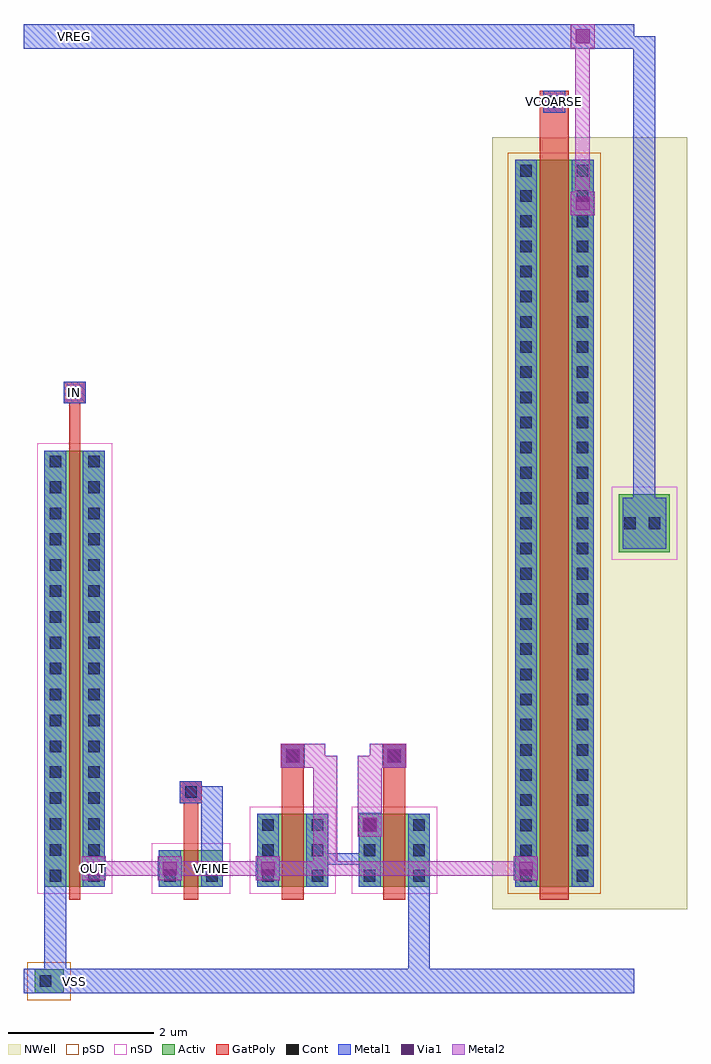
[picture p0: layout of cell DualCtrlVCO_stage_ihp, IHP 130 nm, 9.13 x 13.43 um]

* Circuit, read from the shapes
.subckt DualCtrlVCO_stage_ihp IN OUT VCOARSE VFINE VREG VSS
XM1 OUT IN VSS VSS sg13_lv_nmos w=6u l=0.15u
XM2 VFINE VFINE OUT VSS sg13_lv_nmos w=0.5u l=0.2u
XM3 n1 OUT OUT VSS sg13_lv_nmos w=1u l=0.3u
XM4 VSS n1 n1 VSS sg13_lv_nmos w=1u l=0.3u
XM5 VREG VCOARSE OUT VREG sg13_lv_pmos w=10u l=0.4u
.ends

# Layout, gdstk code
import gdstk
lib = gdstk.Library(unit=1e-6, precision=1e-09)
def R(c, l, rs):  # rectangles x0, y0, x1, y1
    for r in rs: c.add(gdstk.rectangle(r[:2], r[2:], *l))
def A(c, l, x, y, w, h, nx, ny, dx, dy):  # array of equal rectangles
    R(c, l, [(x+i*dx, y+j*dy, x+i*dx+w, y+j*dy+h) for i in range(nx) for j in range(ny)])
Activ = (1, 0)
GatPoly = (5, 0)
Cont = (6, 0)
nSD = (7, 0)
Metal1 = (8, 0)
Metal2 = (10, 0)
pSD = (14, 0)
Via1 = (19, 0)
NWell = (31, 0)

dualctrlvco_stage_ihp = lib.new_cell('DualCtrlVCO_stage_ihp')
R(dualctrlvco_stage_ihp, Activ, [(-0.55,-1.46,-0.15,-1.14), (-0.415,0,0.415,6), (1.16,0,2.04,0.5), (2.51,0,3.49,1), (3.91,0,4.89,1), (6.06,0,7.14,10), (7.49,4.6,8.19,5.4)])
R(dualctrlvco_stage_ihp, GatPoly, [(-0.075,-0.18,0.075,6.95), (1.5,-0.18,1.7,1.45), (2.85,-0.18,3.15,1.95), (4.25,-0.18,4.55,1.95), (6.4,-0.18,6.8,10.95), (1.45,1.15,1.75,1.45), (2.85,1.65,3.15,1.95), (4.25,1.65,4.55,1.95), (-0.15,6.65,0.15,6.95), (6.4,10.65,6.8,10.95)])
A(dualctrlvco_stage_ihp, Cont, -0.345, 0.07, 0.16, 0.16, 1, 3, 0, 0.355)
A(dualctrlvco_stage_ihp, Cont, 0.185, 0.07, 0.16, 0.16, 1, 3, 0, 0.355)
A(dualctrlvco_stage_ihp, Cont, 2.58, 0.07, 0.16, 0.16, 1, 3, 0, 0.35)
A(dualctrlvco_stage_ihp, Cont, 3.26, 0.07, 0.16, 0.16, 1, 3, 0, 0.35)
A(dualctrlvco_stage_ihp, Cont, 3.98, 0.07, 0.16, 0.16, 1, 3, 0, 0.35)
A(dualctrlvco_stage_ihp, Cont, 4.66, 0.07, 0.16, 0.16, 1, 3, 0, 0.35)
A(dualctrlvco_stage_ihp, Cont, 6.13, 0.765, 0.16, 0.16, 1, 4, 0, 0.345)
A(dualctrlvco_stage_ihp, Cont, 6.91, 0.765, 0.16, 0.16, 1, 4, 0, 0.345)
A(dualctrlvco_stage_ihp, Cont, -0.345, 1.14, 0.16, 0.16, 1, 4, 0, 0.355)
A(dualctrlvco_stage_ihp, Cont, 0.185, 1.14, 0.16, 0.16, 1, 4, 0, 0.355)
A(dualctrlvco_stage_ihp, Cont, 6.13, 2.15, 0.16, 0.16, 1, 3, 0, 0.345)
A(dualctrlvco_stage_ihp, Cont, 6.91, 2.15, 0.16, 0.16, 1, 3, 0, 0.345)
A(dualctrlvco_stage_ihp, Cont, -0.345, 2.565, 0.16, 0.16, 1, 4, 0, 0.355)
A(dualctrlvco_stage_ihp, Cont, 0.185, 2.565, 0.16, 0.16, 1, 4, 0, 0.355)
A(dualctrlvco_stage_ihp, Cont, 6.13, 3.19, 0.16, 0.16, 1, 4, 0, 0.345)
A(dualctrlvco_stage_ihp, Cont, 6.91, 3.19, 0.16, 0.16, 1, 4, 0, 0.345)
A(dualctrlvco_stage_ihp, Cont, -0.345, 3.99, 0.16, 0.16, 1, 4, 0, 0.355)
A(dualctrlvco_stage_ihp, Cont, 0.185, 3.99, 0.16, 0.16, 1, 4, 0, 0.355)
A(dualctrlvco_stage_ihp, Cont, 6.13, 4.575, 0.16, 0.16, 1, 3, 0, 0.345)
A(dualctrlvco_stage_ihp, Cont, 6.91, 4.575, 0.16, 0.16, 1, 3, 0, 0.345)
A(dualctrlvco_stage_ihp, Cont, 6.13, 5.615, 0.16, 0.16, 1, 4, 0, 0.345)
A(dualctrlvco_stage_ihp, Cont, 6.91, 5.615, 0.16, 0.16, 1, 4, 0, 0.345)
A(dualctrlvco_stage_ihp, Cont, 6.13, 7, 0.16, 0.16, 1, 3, 0, 0.345)
A(dualctrlvco_stage_ihp, Cont, 6.91, 7, 0.16, 0.16, 1, 3, 0, 0.345)
A(dualctrlvco_stage_ihp, Cont, 6.13, 8.04, 0.16, 0.16, 1, 4, 0, 0.345)
A(dualctrlvco_stage_ihp, Cont, 6.91, 8.04, 0.16, 0.16, 1, 4, 0, 0.345)
R(dualctrlvco_stage_ihp, Cont, [(-0.48,-1.38,-0.32,-1.22), (1.23,0.07,1.39,0.23), (1.81,0.07,1.97,0.23), (6.13,0.07,6.29,0.23), (6.91,0.07,7.07,0.23), (6.13,0.415,6.29,0.575), (6.91,0.415,7.07,0.575), (1.52,1.22,1.68,1.38), (2.92,1.72,3.08,1.88), (4.32,1.72,4.48,1.88), (7.56,4.92,7.72,5.08), (7.9,4.92,8.06,5.08), (-0.345,5.415,-0.185,5.575), (0.185,5.415,0.345,5.575), (-0.345,5.77,-0.185,5.93), (0.185,5.77,0.345,5.93), (-0.08,6.72,0.08,6.88), (6.13,9.425,6.29,9.585), (6.91,9.425,7.07,9.585), (6.13,9.77,6.29,9.93), (6.91,9.77,7.07,9.93), (6.52,10.72,6.68,10.88)])
R(dualctrlvco_stage_ihp, nSD, [(-0.515,-0.1,0.515,6.1), (1.06,-0.1,2.14,0.6), (2.41,-0.1,3.59,1.1), (3.81,-0.1,4.99,1.1), (7.39,4.5,8.29,5.5)])
R(dualctrlvco_stage_ihp, Metal1, [(-0.7,-1.47,7.7,-1.13), (-0.415,-1.3,-0.115,6), (4.59,-1.3,4.89,1), (-0.415,0,-0.115,6), (0.115,0,0.415,6), (1.16,0,1.46,0.5), (1.74,0,2.04,0.5), (1.74,0,2.04,1.3), (2.51,0,2.81,1), (3.19,0,3.49,1), (3.91,0,4.21,1), (4.59,0,4.89,1), (6.06,0,6.36,10), (6.84,0,7.14,10), (0.1,0.085,0.43,0.415), (1.145,0.085,1.475,0.415), (2.495,0.085,2.825,0.415), (6.045,0.085,6.375,0.415), (3.19,0.3,4.21,0.46), (3.895,0.685,4.225,1.015), (1.45,1.15,1.75,1.45), (1.58,1.22,2.04,1.38), (2.835,1.635,3.165,1.965), (4.235,1.635,4.565,1.965), (2.85,1.65,3.15,1.95), (4.25,1.65,4.55,1.95), (7.54,4.65,8.14,5.35), (7.69,5,7.99,11.7), (-0.15,6.65,0.15,6.95), (6.825,9.235,7.155,9.565), (6.45,10.65,6.75,10.95), (-0.7,11.53,7.7,11.87), (6.825,11.535,7.155,11.865)])
R(dualctrlvco_stage_ihp, Metal2, [(0.1,0.085,0.43,0.415), (1.145,0.085,1.475,0.415), (2.495,0.085,2.825,0.415), (6.045,0.085,6.375,0.415), (0.165,0.15,6.31,0.35), (3.285,0.25,3.615,1.8), (3.895,0.685,4.225,1.015), (3.895,0.85,4.225,1.8), (2.835,1.635,3.165,1.965), (3,1.635,3.45,1.965), (4.06,1.635,4.4,1.965), (4.235,1.635,4.565,1.965), (6.825,9.235,7.155,9.565), (6.89,9.4,7.09,11.7), (6.825,11.535,7.155,11.865)])
R(dualctrlvco_stage_ihp, pSD, [(-0.65,-1.56,-0.05,-1.04), (5.96,-0.1,7.24,10.1)])
R(dualctrlvco_stage_ihp, Via1, [(0.17,0.155,0.36,0.345), (1.215,0.155,1.405,0.345), (2.565,0.155,2.755,0.345), (6.115,0.155,6.305,0.345), (3.965,0.755,4.155,0.945), (2.905,1.705,3.095,1.895), (4.305,1.705,4.495,1.895), (6.895,9.305,7.085,9.495), (6.895,11.605,7.085,11.795)])
R(dualctrlvco_stage_ihp, NWell, [(5.75,-0.31,8.43,10.31)])
dualctrlvco_stage_ihp.add(gdstk.Label('OUT', (0.265,0.25), layer=10, texttype=0))
dualctrlvco_stage_ihp.add(gdstk.Label('VSS', (0,-1.3), layer=8, texttype=0))
dualctrlvco_stage_ihp.add(gdstk.Label('VREG', (0,11.7), layer=8, texttype=0))
dualctrlvco_stage_ihp.add(gdstk.Label('IN', (0,6.8), layer=8, texttype=0))
dualctrlvco_stage_ihp.add(gdstk.Label('VCOARSE', (6.6,10.8), layer=8, texttype=0))
dualctrlvco_stage_ihp.add(gdstk.Label('VFINE', (1.89,0.25), layer=8, texttype=0))

lib.write_gds('DualCtrlVCO_stage_ihp.gds')
